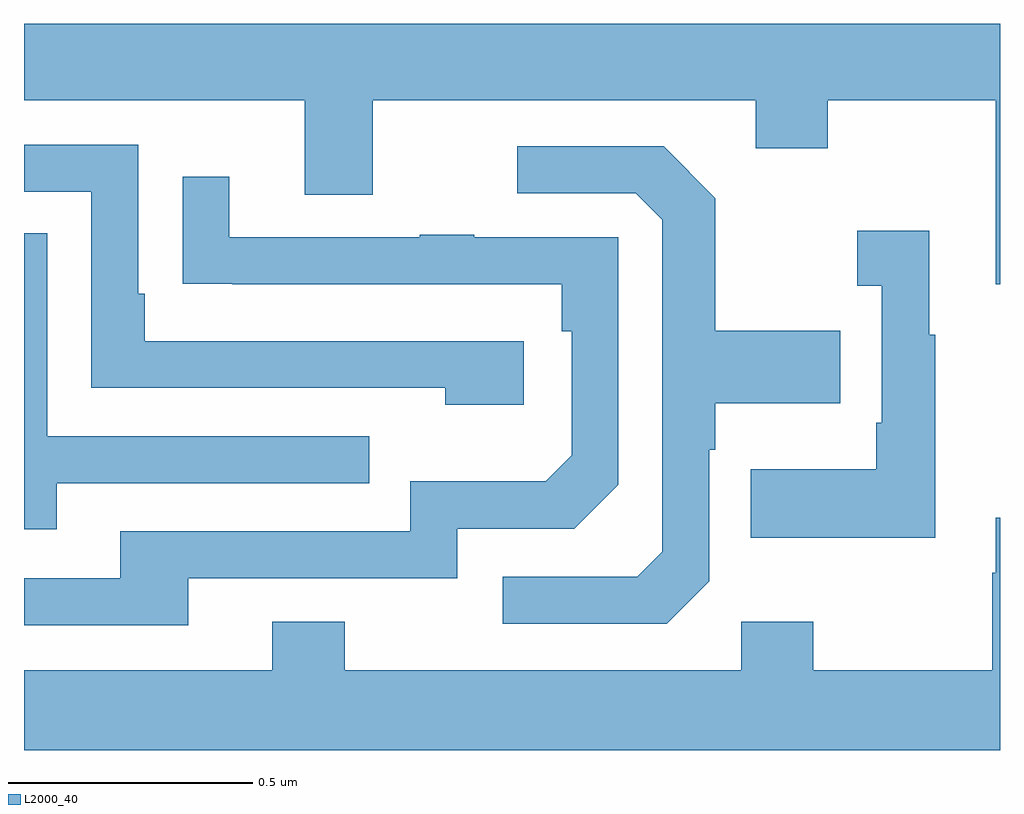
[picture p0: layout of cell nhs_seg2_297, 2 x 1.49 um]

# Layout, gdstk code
import gdstk
lib = gdstk.Library(unit=1e-6, precision=1e-09)
def P(c, l, *ps):  # polygons
    for p in ps: c.add(gdstk.Polygon(p, *l))
L2000_40 = (2000, 40)

nhs_seg2_297 = lib.new_cell('nhs_seg2_297')
P(nhs_seg2_297, L2000_40, [(116,639.8),(114,639.8),(114,639.644),(114.575,639.644),(114.575,639.45),(114.715,639.45),(114.715,639.644),(115.499,639.644),(115.499,639.545),(115.647,639.545),(115.647,639.644),(115.991,639.644),(115.991,639.267),(116,639.267)],
  [(115.024,639.15),(114.247,639.15),(114.247,639.247),(114.234,639.247),(114.234,639.552),(114,639.552),(114,639.456),(114.138,639.456),(114.138,639.054),(114.863,639.054),(114.863,639.02),(115.024,639.02)],
  [(115.404,638.658),(115.404,638.927),(115.417,638.927),(115.417,639.023),(115.673,639.023),(115.673,639.171),(115.417,639.171),(115.417,639.443),(115.311,639.549),(115.011,639.549),(115.011,639.453),(115.254,639.453),(115.308,639.399),(115.308,638.718),(115.257,638.667),(114.981,638.667),(114.981,638.571),(115.317,638.571)],
  [(114.337,638.664),(114.888,638.664),(114.888,638.766),(115.128,638.766),(115.218,638.856),(115.218,639.363),(114.923,639.363),(114.923,639.368),(114.811,639.368),(114.811,639.363),(114.421,639.363),(114.421,639.487),(114.325,639.487),(114.325,639.268),(114.427,639.268),(114.427,639.267),(115.102,639.267),(115.102,639.17),(115.122,639.17),(115.122,638.916),(115.069,638.863),(114.792,638.863),(114.792,638.76),(114.197,638.76),(114.197,638.664),(114,638.664),(114,638.568),(114.337,638.568)],
  [(115.867,639.163),(115.855,639.163),(115.855,639.376),(115.707,639.376),(115.707,639.263),(115.758,639.263),(115.758,638.983),(115.746,638.983),(115.746,638.887),(115.489,638.887),(115.489,638.747),(115.867,638.747)],
  [(114.067,638.859),(114.707,638.859),(114.707,638.955),(114.048,638.955),(114.048,639.371),(114,639.371),(114,638.765),(114.067,638.765)],
  [(116,638.788),(115.991,638.788),(115.991,638.675),(115.984,638.675),(115.984,638.476),(115.617,638.476),(115.617,638.575),(115.47,638.575),(115.47,638.476),(114.657,638.476),(114.657,638.575),(114.509,638.575),(114.509,638.476),(114,638.476),(114,638.312),(116,638.312)])

lib.write_gds('nhs_seg2_297.gds')
